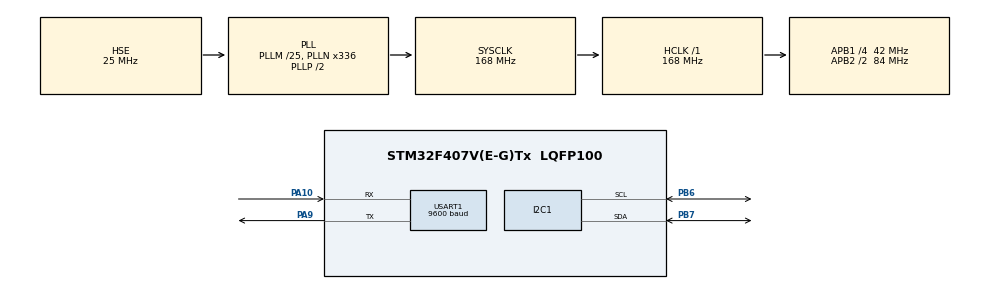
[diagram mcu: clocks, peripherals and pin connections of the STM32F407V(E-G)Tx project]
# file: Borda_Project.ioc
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Mcu.Family=STM32F4
Mcu.Name=STM32F407V(E-G)Tx
Mcu.Package=LQFP100
NVIC.PriorityGroup=NVIC_PRIORITYGROUP_4
NVIC.USART1_IRQn=true\:0\:0\:false\:false\:true\:true\:true\:true
PA10.Mode=Asynchronous
PA10.Signal=USART1_RX
PA13.Mode=Serial_Wire
PA13.Signal=SYS_JTMS-SWDIO
PA14.Mode=Serial_Wire
PA14.Signal=SYS_JTCK-SWCLK
PA9.Mode=Asynchronous
PA9.Signal=USART1_TX
PB6.Mode=I2C
PB6.Signal=I2C1_SCL
PB7.Mode=I2C
PB7.Signal=I2C1_SDA
PH0-OSC_IN.Mode=HSE-External-Oscillator
PH0-OSC_IN.Signal=RCC_OSC_IN
PH1-OSC_OUT.Mode=HSE-External-Oscillator
PH1-OSC_OUT.Signal=RCC_OSC_OUT
ProjectManager.HeapSize=0x200
ProjectManager.StackSize=0x400
ProjectManager.TargetToolchain=STM32CubeIDE
RCC.48MHZClocksFreq_Value=84000000
RCC.AHBFreq_Value=168000000
RCC.APB1CLKDivider=RCC_HCLK_DIV4
RCC.APB1Freq_Value=42000000
RCC.APB1TimFreq_Value=84000000
RCC.APB2CLKDivider=RCC_HCLK_DIV2
RCC.APB2Freq_Value=84000000
RCC.APB2TimFreq_Value=168000000
RCC.CortexFreq_Value=168000000
RCC.HCLKFreq_Value=168000000
RCC.HSE_VALUE=25000000
RCC.HSI_VALUE=16000000
RCC.LSE_VALUE=32768
RCC.PLLM=25
RCC.PLLN=336
RCC.PLLSourceVirtual=RCC_PLLSOURCE_HSE
RCC.SYSCLKFreq_VALUE=168000000
RCC.SYSCLKSource=RCC_SYSCLKSOURCE_PLLCLK
RCC.VCOOutputFreq_Value=336000000
USART1.BaudRate=9600
USART1.VirtualMode=VM_ASYNC
board=custom

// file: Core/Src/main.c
/* USER CODE BEGIN Header */
/**
  ******************************************************************************
  * @file           : main.c
  * @brief          : Main program body
  ******************************************************************************
  * @attention
  *
  * Copyright (c) 2023 STMicroelectronics.
  * All rights reserved.
  *
  * This software is licensed under terms that can be found in the LICENSE file
  * in the root directory of this software component.
  * If no LICENSE file comes with this software, it is provided AS-IS.
  *
  ******************************************************************************
  */
/* USER CODE END Header */
#include "main.h"

/* USER CODE BEGIN Includes */
#include "stdio.h"
#include <math.h>
#include "ADXL.h"
#include "string.h"
#include "stdbool.h"
#include "stdlib.h"
#include "stdint.h"
#include "float.h"

/* USER CODE END Includes */

I2C_HandleTypeDef hi2c1;

UART_HandleTypeDef huart1;

/* USER CODE BEGIN PV */
int16_t Raw_X, Raw_Y, Raw_Z; // Ham ADXL345 verilerini tutmak için oluşturulan değişkenler.
float xg, yg, zg;            // Gerekli ölçeklendirme sonucunda oluşan gerçek ölçüm değerlerinin tutulması için.
extern float result_BufferX[10]; // Buffer'larımız.Gerekli sensörün source file dosyasında oluşturulduğu için burada extern olarak oluşturulmuştur.
extern float result_BufferY[10];
extern float result_BufferZ[10];

uint8_t ble_packet_data[20];
int temperature;  // Ölçeklenmiş doğru sıcaklık değerini tutmak için oluşturulmuştur.
extern int32_t tempRaw; // Ham sıcaklık değeri için oluşturulmuştur.
extern int16_t result_Buffer[10]; // Sıcaklık değerini tutmak için oluşturulan buffer

/* USER CODE END PV */

void SystemClock_Config(void);
static void MX_GPIO_Init(void);
static void MX_I2C1_Init(void);
static void MX_USART1_UART_Init(void);

int main(void)
{

  /* MCU Configuration--------------------------------------------------------*/

  /* Reset of all peripherals, Initializes the Flash interface and the Systick. */
  HAL_Init();

  /* Configure the system clock */
  SystemClock_Config();

  /* Initialize all configured peripherals */
  MX_GPIO_Init();
  MX_I2C1_Init();
  MX_USART1_UART_Init();
  /* USER CODE BEGIN 2 */

  ADXL345_Init();
  BMP280_Init();
  BMP280_ReadRaw();
  TrimRead();

  /* USER CODE END 2 */

  /* Infinite loop */
  while (1)
  {
	  ADXL345_Read();
      xg = Raw_X * .0078;  // ADXL345 datasheet'de verilen ölçeklendirme ayarına göre bu işleme sokulmuştur.
	  yg = Raw_Y * .0078;  // Birimleri mg/LSB'dir.
	  zg = Raw_Z * .0078;
	  ADXL345_BufferX(xg);
	  ADXL345_BufferY(yg);
	  ADXL345_BufferZ(zg);

	  temperature = (BMP280_compensate_T_int32 (tempRaw))/100.0; // BMP280 datasheet'de verilen ölçeklendirme değerine göre bu işleme sokulmuştur.

	  BMP280_BufferData(temperature); // Buffer'a gönderiyoruz sıcaklık değerini.

}

}

void SystemClock_Config(void)
{
  RCC_OscInitTypeDef RCC_OscInitStruct = {0};
  RCC_ClkInitTypeDef RCC_ClkInitStruct = {0};

  /** Configure the main internal regulator output voltage
  */
  __HAL_RCC_PWR_CLK_ENABLE();
  __HAL_PWR_VOLTAGESCALING_CONFIG(PWR_REGULATOR_VOLTAGE_SCALE1);

  /** Initializes the RCC Oscillators according to the specified parameters
  * in the RCC_OscInitTypeDef structure.
  */
  RCC_OscInitStruct.OscillatorType = RCC_OSCILLATORTYPE_HSE;
  RCC_OscInitStruct.HSEState = RCC_HSE_ON;
  RCC_OscInitStruct.PLL.PLLState = RCC_PLL_ON;
  RCC_OscInitStruct.PLL.PLLSource = RCC_PLLSOURCE_HSE;
  RCC_OscInitStruct.PLL.PLLM = 25;
  RCC_OscInitStruct.PLL.PLLN = 336;
  RCC_OscInitStruct.PLL.PLLP = RCC_PLLP_DIV2;
  RCC_OscInitStruct.PLL.PLLQ = 4;
  if (HAL_RCC_OscConfig(&RCC_OscInitStruct) != HAL_OK)
  {
    Error_Handler();
  }

  /** Initializes the CPU, AHB and APB buses clocks
  */
  RCC_ClkInitStruct.ClockType = RCC_CLOCKTYPE_HCLK|RCC_CLOCKTYPE_SYSCLK
                              |RCC_CLOCKTYPE_PCLK1|RCC_CLOCKTYPE_PCLK2;
  RCC_ClkInitStruct.SYSCLKSource = RCC_SYSCLKSOURCE_PLLCLK;
  RCC_ClkInitStruct.AHBCLKDivider = RCC_SYSCLK_DIV1;
  RCC_ClkInitStruct.APB1CLKDivider = RCC_HCLK_DIV4;
  RCC_ClkInitStruct.APB2CLKDivider = RCC_HCLK_DIV2;

  if (HAL_RCC_ClockConfig(&RCC_ClkInitStruct, FLASH_LATENCY_5) != HAL_OK)
  {
    Error_Handler();
  }
}

static void MX_I2C1_Init(void)
{

  hi2c1.Instance = I2C1;
  hi2c1.Init.ClockSpeed = 100000;
  hi2c1.Init.DutyCycle = I2C_DUTYCYCLE_2;
  hi2c1.Init.OwnAddress1 = 0;
  hi2c1.Init.AddressingMode = I2C_ADDRESSINGMODE_7BIT;
  hi2c1.Init.DualAddressMode = I2C_DUALADDRESS_DISABLE;
  hi2c1.Init.OwnAddress2 = 0;
  hi2c1.Init.GeneralCallMode = I2C_GENERALCALL_DISABLE;
  hi2c1.Init.NoStretchMode = I2C_NOSTRETCH_DISABLE;
  if (HAL_I2C_Init(&hi2c1) != HAL_OK)
  {
    Error_Handler();
  }

}

static void MX_USART1_UART_Init(void)
{

  huart1.Instance = USART1;
  huart1.Init.BaudRate = 9600;
  huart1.Init.WordLength = UART_WORDLENGTH_8B;
  huart1.Init.StopBits = UART_STOPBITS_1;
  huart1.Init.Parity = UART_PARITY_NONE;
  huart1.Init.Mode = UART_MODE_TX_RX;
  huart1.Init.HwFlowCtl = UART_HWCONTROL_NONE;
  huart1.Init.OverSampling = UART_OVERSAMPLING_16;
  if (HAL_UART_Init(&huart1) != HAL_OK)
  {
    Error_Handler();
  }

}

static void MX_GPIO_Init(void)
{

  /* GPIO Ports Clock Enable */
  __HAL_RCC_GPIOH_CLK_ENABLE();
  __HAL_RCC_GPIOA_CLK_ENABLE();
  __HAL_RCC_GPIOB_CLK_ENABLE();

}

void Error_Handler(void)
{
  __disable_irq();
  while (1)
  {
  }
}
